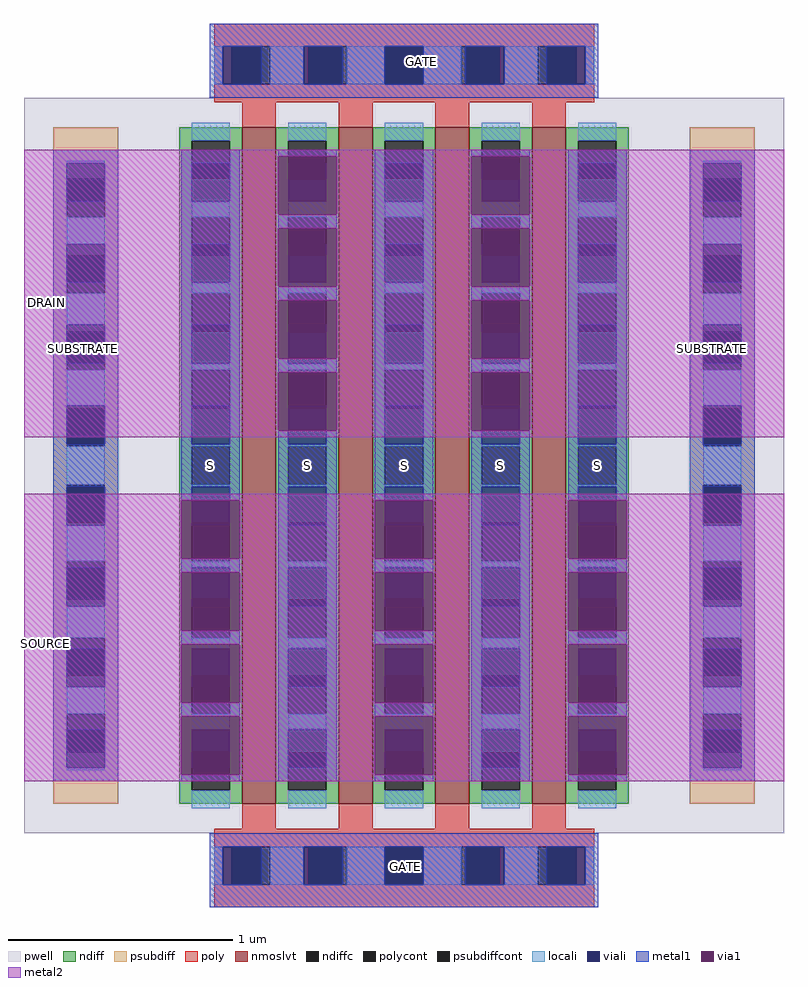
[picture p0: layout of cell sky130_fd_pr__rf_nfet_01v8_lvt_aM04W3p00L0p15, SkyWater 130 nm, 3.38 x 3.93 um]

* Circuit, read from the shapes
.subckt sky130_fd_pr__rf_nfet_01v8_lvt_aM04W3p00L0p15 DRAIN GATE SOURCE SUBSTRATE
XM1 DRAIN GATE SOURCE SUBSTRATE sky130_fd_pr__nfet_01v8_lvt w=3.01 l=0.15 m=4
.ends

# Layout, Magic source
magic
tech sky130A
magscale 1 2
<< pwell >>
rect 0 66 676 720
<< nmoslvt >>
rect 194 92 224 694
rect 280 92 310 694
rect 366 92 396 694
rect 452 92 482 694
<< ndiff >>
rect 138 682 194 694
rect 138 648 149 682
rect 183 648 194 682
rect 138 614 194 648
rect 138 580 149 614
rect 183 580 194 614
rect 138 546 194 580
rect 138 512 149 546
rect 183 512 194 546
rect 138 478 194 512
rect 138 444 149 478
rect 183 444 194 478
rect 138 410 194 444
rect 138 376 149 410
rect 183 376 194 410
rect 138 342 194 376
rect 138 308 149 342
rect 183 308 194 342
rect 138 274 194 308
rect 138 240 149 274
rect 183 240 194 274
rect 138 206 194 240
rect 138 172 149 206
rect 183 172 194 206
rect 138 138 194 172
rect 138 104 149 138
rect 183 104 194 138
rect 138 92 194 104
rect 224 682 280 694
rect 224 648 235 682
rect 269 648 280 682
rect 224 614 280 648
rect 224 580 235 614
rect 269 580 280 614
rect 224 546 280 580
rect 224 512 235 546
rect 269 512 280 546
rect 224 478 280 512
rect 224 444 235 478
rect 269 444 280 478
rect 224 410 280 444
rect 224 376 235 410
rect 269 376 280 410
rect 224 342 280 376
rect 224 308 235 342
rect 269 308 280 342
rect 224 274 280 308
rect 224 240 235 274
rect 269 240 280 274
rect 224 206 280 240
rect 224 172 235 206
rect 269 172 280 206
rect 224 138 280 172
rect 224 104 235 138
rect 269 104 280 138
rect 224 92 280 104
rect 310 682 366 694
rect 310 648 321 682
rect 355 648 366 682
rect 310 614 366 648
rect 310 580 321 614
rect 355 580 366 614
rect 310 546 366 580
rect 310 512 321 546
rect 355 512 366 546
rect 310 478 366 512
rect 310 444 321 478
rect 355 444 366 478
rect 310 410 366 444
rect 310 376 321 410
rect 355 376 366 410
rect 310 342 366 376
rect 310 308 321 342
rect 355 308 366 342
rect 310 274 366 308
rect 310 240 321 274
rect 355 240 366 274
rect 310 206 366 240
rect 310 172 321 206
rect 355 172 366 206
rect 310 138 366 172
rect 310 104 321 138
rect 355 104 366 138
rect 310 92 366 104
rect 396 682 452 694
rect 396 648 407 682
rect 441 648 452 682
rect 396 614 452 648
rect 396 580 407 614
rect 441 580 452 614
rect 396 546 452 580
rect 396 512 407 546
rect 441 512 452 546
rect 396 478 452 512
rect 396 444 407 478
rect 441 444 452 478
rect 396 410 452 444
rect 396 376 407 410
rect 441 376 452 410
rect 396 342 452 376
rect 396 308 407 342
rect 441 308 452 342
rect 396 274 452 308
rect 396 240 407 274
rect 441 240 452 274
rect 396 206 452 240
rect 396 172 407 206
rect 441 172 452 206
rect 396 138 452 172
rect 396 104 407 138
rect 441 104 452 138
rect 396 92 452 104
rect 482 682 538 694
rect 482 648 493 682
rect 527 648 538 682
rect 482 614 538 648
rect 482 580 493 614
rect 527 580 538 614
rect 482 546 538 580
rect 482 512 493 546
rect 527 512 538 546
rect 482 478 538 512
rect 482 444 493 478
rect 527 444 538 478
rect 482 410 538 444
rect 482 376 493 410
rect 527 376 538 410
rect 482 342 538 376
rect 482 308 493 342
rect 527 308 538 342
rect 482 274 538 308
rect 482 240 493 274
rect 527 240 538 274
rect 482 206 538 240
rect 482 172 493 206
rect 527 172 538 206
rect 482 138 538 172
rect 482 104 493 138
rect 527 104 538 138
rect 482 92 538 104
<< ndiffc >>
rect 149 648 183 682
rect 149 580 183 614
rect 149 512 183 546
rect 149 444 183 478
rect 149 376 183 410
rect 149 308 183 342
rect 149 240 183 274
rect 149 172 183 206
rect 149 104 183 138
rect 235 648 269 682
rect 235 580 269 614
rect 235 512 269 546
rect 235 444 269 478
rect 235 376 269 410
rect 235 308 269 342
rect 235 240 269 274
rect 235 172 269 206
rect 235 104 269 138
rect 321 648 355 682
rect 321 580 355 614
rect 321 512 355 546
rect 321 444 355 478
rect 321 376 355 410
rect 321 308 355 342
rect 321 240 355 274
rect 321 172 355 206
rect 321 104 355 138
rect 407 648 441 682
rect 407 580 441 614
rect 407 512 441 546
rect 407 444 441 478
rect 407 376 441 410
rect 407 308 441 342
rect 407 240 441 274
rect 407 172 441 206
rect 407 104 441 138
rect 493 648 527 682
rect 493 580 527 614
rect 493 512 527 546
rect 493 444 527 478
rect 493 376 527 410
rect 493 308 527 342
rect 493 240 527 274
rect 493 172 527 206
rect 493 104 527 138
<< psubdiff >>
rect 26 648 84 694
rect 26 614 38 648
rect 72 614 84 648
rect 26 580 84 614
rect 26 546 38 580
rect 72 546 84 580
rect 26 512 84 546
rect 26 478 38 512
rect 72 478 84 512
rect 26 444 84 478
rect 26 410 38 444
rect 72 410 84 444
rect 26 376 84 410
rect 26 342 38 376
rect 72 342 84 376
rect 26 308 84 342
rect 26 274 38 308
rect 72 274 84 308
rect 26 240 84 274
rect 26 206 38 240
rect 72 206 84 240
rect 26 172 84 206
rect 26 138 38 172
rect 72 138 84 172
rect 26 92 84 138
rect 592 648 650 694
rect 592 614 604 648
rect 638 614 650 648
rect 592 580 650 614
rect 592 546 604 580
rect 638 546 650 580
rect 592 512 650 546
rect 592 478 604 512
rect 638 478 650 512
rect 592 444 650 478
rect 592 410 604 444
rect 638 410 650 444
rect 592 376 650 410
rect 592 342 604 376
rect 638 342 650 376
rect 592 308 650 342
rect 592 274 604 308
rect 638 274 650 308
rect 592 240 650 274
rect 592 206 604 240
rect 638 206 650 240
rect 592 172 650 206
rect 592 138 604 172
rect 638 138 650 172
rect 592 92 650 138
<< psubdiffcont >>
rect 38 614 72 648
rect 38 546 72 580
rect 38 478 72 512
rect 38 410 72 444
rect 38 342 72 376
rect 38 274 72 308
rect 38 206 72 240
rect 38 138 72 172
rect 604 614 638 648
rect 604 546 638 580
rect 604 478 638 512
rect 604 410 638 444
rect 604 342 638 376
rect 604 274 638 308
rect 604 206 638 240
rect 604 138 638 172
<< poly >>
rect 169 766 507 786
rect 169 732 185 766
rect 219 732 253 766
rect 287 732 321 766
rect 355 732 389 766
rect 423 732 457 766
rect 491 732 507 766
rect 169 716 507 732
rect 194 694 224 716
rect 280 694 310 716
rect 366 694 396 716
rect 452 694 482 716
rect 194 70 224 92
rect 280 70 310 92
rect 366 70 396 92
rect 452 70 482 92
rect 169 54 507 70
rect 169 20 185 54
rect 219 20 253 54
rect 287 20 321 54
rect 355 20 389 54
rect 423 20 457 54
rect 491 20 507 54
rect 169 0 507 20
<< polycont >>
rect 185 732 219 766
rect 253 732 287 766
rect 321 732 355 766
rect 389 732 423 766
rect 457 732 491 766
rect 185 20 219 54
rect 253 20 287 54
rect 321 20 355 54
rect 389 20 423 54
rect 457 20 491 54
<< locali >>
rect 169 732 177 766
rect 219 732 249 766
rect 287 732 321 766
rect 355 732 389 766
rect 427 732 457 766
rect 499 732 507 766
rect 149 682 183 698
rect 38 662 72 664
rect 38 590 72 614
rect 38 518 72 546
rect 38 446 72 478
rect 38 376 72 410
rect 38 308 72 340
rect 38 240 72 268
rect 38 172 72 196
rect 38 122 72 124
rect 149 614 183 628
rect 149 546 183 556
rect 149 478 183 484
rect 149 410 183 412
rect 149 374 183 376
rect 149 302 183 308
rect 149 230 183 240
rect 149 158 183 172
rect 149 88 183 104
rect 235 682 269 698
rect 235 614 269 628
rect 235 546 269 556
rect 235 478 269 484
rect 235 410 269 412
rect 235 374 269 376
rect 235 302 269 308
rect 235 230 269 240
rect 235 158 269 172
rect 235 88 269 104
rect 321 682 355 698
rect 321 614 355 628
rect 321 546 355 556
rect 321 478 355 484
rect 321 410 355 412
rect 321 374 355 376
rect 321 302 355 308
rect 321 230 355 240
rect 321 158 355 172
rect 321 88 355 104
rect 407 682 441 698
rect 407 614 441 628
rect 407 546 441 556
rect 407 478 441 484
rect 407 410 441 412
rect 407 374 441 376
rect 407 302 441 308
rect 407 230 441 240
rect 407 158 441 172
rect 407 88 441 104
rect 493 682 527 698
rect 493 614 527 628
rect 493 546 527 556
rect 493 478 527 484
rect 493 410 527 412
rect 493 374 527 376
rect 493 302 527 308
rect 493 230 527 240
rect 493 158 527 172
rect 604 662 638 664
rect 604 590 638 614
rect 604 518 638 546
rect 604 446 638 478
rect 604 376 638 410
rect 604 308 638 340
rect 604 240 638 268
rect 604 172 638 196
rect 604 122 638 124
rect 493 88 527 104
rect 169 20 177 54
rect 219 20 249 54
rect 287 20 321 54
rect 355 20 389 54
rect 427 20 457 54
rect 499 20 507 54
<< viali >>
rect 177 732 185 766
rect 185 732 211 766
rect 249 732 253 766
rect 253 732 283 766
rect 321 732 355 766
rect 393 732 423 766
rect 423 732 427 766
rect 465 732 491 766
rect 491 732 499 766
rect 38 648 72 662
rect 38 628 72 648
rect 38 580 72 590
rect 38 556 72 580
rect 38 512 72 518
rect 38 484 72 512
rect 38 444 72 446
rect 38 412 72 444
rect 38 342 72 374
rect 38 340 72 342
rect 38 274 72 302
rect 38 268 72 274
rect 38 206 72 230
rect 38 196 72 206
rect 38 138 72 158
rect 38 124 72 138
rect 149 648 183 662
rect 149 628 183 648
rect 149 580 183 590
rect 149 556 183 580
rect 149 512 183 518
rect 149 484 183 512
rect 149 444 183 446
rect 149 412 183 444
rect 149 342 183 374
rect 149 340 183 342
rect 149 274 183 302
rect 149 268 183 274
rect 149 206 183 230
rect 149 196 183 206
rect 149 138 183 158
rect 149 124 183 138
rect 235 648 269 662
rect 235 628 269 648
rect 235 580 269 590
rect 235 556 269 580
rect 235 512 269 518
rect 235 484 269 512
rect 235 444 269 446
rect 235 412 269 444
rect 235 342 269 374
rect 235 340 269 342
rect 235 274 269 302
rect 235 268 269 274
rect 235 206 269 230
rect 235 196 269 206
rect 235 138 269 158
rect 235 124 269 138
rect 321 648 355 662
rect 321 628 355 648
rect 321 580 355 590
rect 321 556 355 580
rect 321 512 355 518
rect 321 484 355 512
rect 321 444 355 446
rect 321 412 355 444
rect 321 342 355 374
rect 321 340 355 342
rect 321 274 355 302
rect 321 268 355 274
rect 321 206 355 230
rect 321 196 355 206
rect 321 138 355 158
rect 321 124 355 138
rect 407 648 441 662
rect 407 628 441 648
rect 407 580 441 590
rect 407 556 441 580
rect 407 512 441 518
rect 407 484 441 512
rect 407 444 441 446
rect 407 412 441 444
rect 407 342 441 374
rect 407 340 441 342
rect 407 274 441 302
rect 407 268 441 274
rect 407 206 441 230
rect 407 196 441 206
rect 407 138 441 158
rect 407 124 441 138
rect 493 648 527 662
rect 493 628 527 648
rect 493 580 527 590
rect 493 556 527 580
rect 493 512 527 518
rect 493 484 527 512
rect 493 444 527 446
rect 493 412 527 444
rect 493 342 527 374
rect 493 340 527 342
rect 493 274 527 302
rect 493 268 527 274
rect 493 206 527 230
rect 493 196 527 206
rect 493 138 527 158
rect 493 124 527 138
rect 604 648 638 662
rect 604 628 638 648
rect 604 580 638 590
rect 604 556 638 580
rect 604 512 638 518
rect 604 484 638 512
rect 604 444 638 446
rect 604 412 638 444
rect 604 342 638 374
rect 604 340 638 342
rect 604 274 638 302
rect 604 268 638 274
rect 604 206 638 230
rect 604 196 638 206
rect 604 138 638 158
rect 604 124 638 138
rect 177 20 185 54
rect 185 20 211 54
rect 249 20 253 54
rect 253 20 283 54
rect 321 20 355 54
rect 393 20 423 54
rect 423 20 427 54
rect 465 20 491 54
rect 491 20 499 54
<< metal1 >>
rect 165 766 511 786
rect 165 732 177 766
rect 211 732 249 766
rect 283 732 321 766
rect 355 732 393 766
rect 427 732 465 766
rect 499 732 511 766
rect 165 720 511 732
rect 26 662 84 674
rect 26 628 38 662
rect 72 628 84 662
rect 26 590 84 628
rect 26 556 38 590
rect 72 556 84 590
rect 26 518 84 556
rect 26 484 38 518
rect 72 484 84 518
rect 26 446 84 484
rect 26 412 38 446
rect 72 412 84 446
rect 26 374 84 412
rect 26 340 38 374
rect 72 340 84 374
rect 26 302 84 340
rect 26 268 38 302
rect 72 268 84 302
rect 26 230 84 268
rect 26 196 38 230
rect 72 196 84 230
rect 26 158 84 196
rect 26 124 38 158
rect 72 124 84 158
rect 26 112 84 124
rect 140 662 192 674
rect 140 628 149 662
rect 183 628 192 662
rect 140 590 192 628
rect 140 556 149 590
rect 183 556 192 590
rect 140 518 192 556
rect 140 484 149 518
rect 183 484 192 518
rect 140 446 192 484
rect 140 412 149 446
rect 183 412 192 446
rect 140 374 192 412
rect 140 362 149 374
rect 183 362 192 374
rect 140 302 192 310
rect 140 298 149 302
rect 183 298 192 302
rect 140 234 192 246
rect 140 170 192 182
rect 140 112 192 118
rect 226 668 278 674
rect 226 604 278 616
rect 226 540 278 552
rect 226 484 235 488
rect 269 484 278 488
rect 226 476 278 484
rect 226 412 235 424
rect 269 412 278 424
rect 226 374 278 412
rect 226 340 235 374
rect 269 340 278 374
rect 226 302 278 340
rect 226 268 235 302
rect 269 268 278 302
rect 226 230 278 268
rect 226 196 235 230
rect 269 196 278 230
rect 226 158 278 196
rect 226 124 235 158
rect 269 124 278 158
rect 226 112 278 124
rect 312 662 364 674
rect 312 628 321 662
rect 355 628 364 662
rect 312 590 364 628
rect 312 556 321 590
rect 355 556 364 590
rect 312 518 364 556
rect 312 484 321 518
rect 355 484 364 518
rect 312 446 364 484
rect 312 412 321 446
rect 355 412 364 446
rect 312 374 364 412
rect 312 362 321 374
rect 355 362 364 374
rect 312 302 364 310
rect 312 298 321 302
rect 355 298 364 302
rect 312 234 364 246
rect 312 170 364 182
rect 312 112 364 118
rect 398 668 450 674
rect 398 604 450 616
rect 398 540 450 552
rect 398 484 407 488
rect 441 484 450 488
rect 398 476 450 484
rect 398 412 407 424
rect 441 412 450 424
rect 398 374 450 412
rect 398 340 407 374
rect 441 340 450 374
rect 398 302 450 340
rect 398 268 407 302
rect 441 268 450 302
rect 398 230 450 268
rect 398 196 407 230
rect 441 196 450 230
rect 398 158 450 196
rect 398 124 407 158
rect 441 124 450 158
rect 398 112 450 124
rect 484 662 536 674
rect 484 628 493 662
rect 527 628 536 662
rect 484 590 536 628
rect 484 556 493 590
rect 527 556 536 590
rect 484 518 536 556
rect 484 484 493 518
rect 527 484 536 518
rect 484 446 536 484
rect 484 412 493 446
rect 527 412 536 446
rect 484 374 536 412
rect 484 362 493 374
rect 527 362 536 374
rect 484 302 536 310
rect 484 298 493 302
rect 527 298 536 302
rect 484 234 536 246
rect 484 170 536 182
rect 484 112 536 118
rect 592 662 650 674
rect 592 628 604 662
rect 638 628 650 662
rect 592 590 650 628
rect 592 556 604 590
rect 638 556 650 590
rect 592 518 650 556
rect 592 484 604 518
rect 638 484 650 518
rect 592 446 650 484
rect 592 412 604 446
rect 638 412 650 446
rect 592 374 650 412
rect 592 340 604 374
rect 638 340 650 374
rect 592 302 650 340
rect 592 268 604 302
rect 638 268 650 302
rect 592 230 650 268
rect 592 196 604 230
rect 638 196 650 230
rect 592 158 650 196
rect 592 124 604 158
rect 638 124 650 158
rect 592 112 650 124
rect 165 54 511 66
rect 165 20 177 54
rect 211 20 249 54
rect 283 20 321 54
rect 355 20 393 54
rect 427 20 465 54
rect 499 20 511 54
rect 165 0 511 20
<< via1 >>
rect 140 340 149 362
rect 149 340 183 362
rect 183 340 192 362
rect 140 310 192 340
rect 140 268 149 298
rect 149 268 183 298
rect 183 268 192 298
rect 140 246 192 268
rect 140 230 192 234
rect 140 196 149 230
rect 149 196 183 230
rect 183 196 192 230
rect 140 182 192 196
rect 140 158 192 170
rect 140 124 149 158
rect 149 124 183 158
rect 183 124 192 158
rect 140 118 192 124
rect 226 662 278 668
rect 226 628 235 662
rect 235 628 269 662
rect 269 628 278 662
rect 226 616 278 628
rect 226 590 278 604
rect 226 556 235 590
rect 235 556 269 590
rect 269 556 278 590
rect 226 552 278 556
rect 226 518 278 540
rect 226 488 235 518
rect 235 488 269 518
rect 269 488 278 518
rect 226 446 278 476
rect 226 424 235 446
rect 235 424 269 446
rect 269 424 278 446
rect 312 340 321 362
rect 321 340 355 362
rect 355 340 364 362
rect 312 310 364 340
rect 312 268 321 298
rect 321 268 355 298
rect 355 268 364 298
rect 312 246 364 268
rect 312 230 364 234
rect 312 196 321 230
rect 321 196 355 230
rect 355 196 364 230
rect 312 182 364 196
rect 312 158 364 170
rect 312 124 321 158
rect 321 124 355 158
rect 355 124 364 158
rect 312 118 364 124
rect 398 662 450 668
rect 398 628 407 662
rect 407 628 441 662
rect 441 628 450 662
rect 398 616 450 628
rect 398 590 450 604
rect 398 556 407 590
rect 407 556 441 590
rect 441 556 450 590
rect 398 552 450 556
rect 398 518 450 540
rect 398 488 407 518
rect 407 488 441 518
rect 441 488 450 518
rect 398 446 450 476
rect 398 424 407 446
rect 407 424 441 446
rect 441 424 450 446
rect 484 340 493 362
rect 493 340 527 362
rect 527 340 536 362
rect 484 310 536 340
rect 484 268 493 298
rect 493 268 527 298
rect 527 268 536 298
rect 484 246 536 268
rect 484 230 536 234
rect 484 196 493 230
rect 493 196 527 230
rect 527 196 536 230
rect 484 182 536 196
rect 484 158 536 170
rect 484 124 493 158
rect 493 124 527 158
rect 527 124 536 158
rect 484 118 536 124
<< metal2 >>
rect 0 668 676 674
rect 0 616 226 668
rect 278 616 398 668
rect 450 616 676 668
rect 0 604 676 616
rect 0 552 226 604
rect 278 552 398 604
rect 450 552 676 604
rect 0 540 676 552
rect 0 488 226 540
rect 278 488 398 540
rect 450 488 676 540
rect 0 476 676 488
rect 0 424 226 476
rect 278 424 398 476
rect 450 424 676 476
rect 0 418 676 424
rect 0 362 676 368
rect 0 310 140 362
rect 192 310 312 362
rect 364 310 484 362
rect 536 310 676 362
rect 0 298 676 310
rect 0 246 140 298
rect 192 246 312 298
rect 364 246 484 298
rect 536 246 676 298
rect 0 234 676 246
rect 0 182 140 234
rect 192 182 312 234
rect 364 182 484 234
rect 536 182 676 234
rect 0 170 676 182
rect 0 118 140 170
rect 192 118 312 170
rect 364 118 484 170
rect 536 118 676 170
rect 0 112 676 118
<< labels >>
flabel comment s 166 393 166 393 0 FreeSans 300 0 0 0 S
flabel comment s 252 393 252 393 0 FreeSans 300 0 0 0 S
flabel comment s 338 393 338 393 0 FreeSans 300 0 0 0 S
flabel comment s 424 393 424 393 0 FreeSans 300 0 0 0 S
flabel comment s 166 393 166 393 0 FreeSans 300 0 0 0 S
flabel comment s 252 393 252 393 0 FreeSans 300 0 0 0 D
flabel comment s 338 393 338 393 0 FreeSans 300 0 0 0 S
flabel comment s 424 393 424 393 0 FreeSans 300 0 0 0 D
flabel comment s 510 393 510 393 0 FreeSans 300 0 0 0 S
flabel metal1 s 53 497 53 497 7 FreeSans 300 90 0 0 SUBSTRATE
port 4 nsew
flabel metal1 s 612 497 612 497 7 FreeSans 300 90 0 0 SUBSTRATE
port 4 nsew
flabel metal1 s 313 740 395 765 0 FreeSans 300 0 0 0 GATE
port 2 nsew
flabel metal1 s 298 24 380 49 0 FreeSans 300 0 0 0 GATE
port 2 nsew
flabel metal2 s 11 503 29 573 0 FreeSans 300 90 0 0 DRAIN
port 1 nsew
flabel metal2 s 9 203 29 267 0 FreeSans 300 90 0 0 SOURCE
port 3 nsew
<< properties >>
string GDS_FILE $PDKPATH/libs.ref/sky130_fd_pr/gds/sky130_fd_pr.gds
string GDS_END 6073180
string GDS_START 6057682
<< end >>
